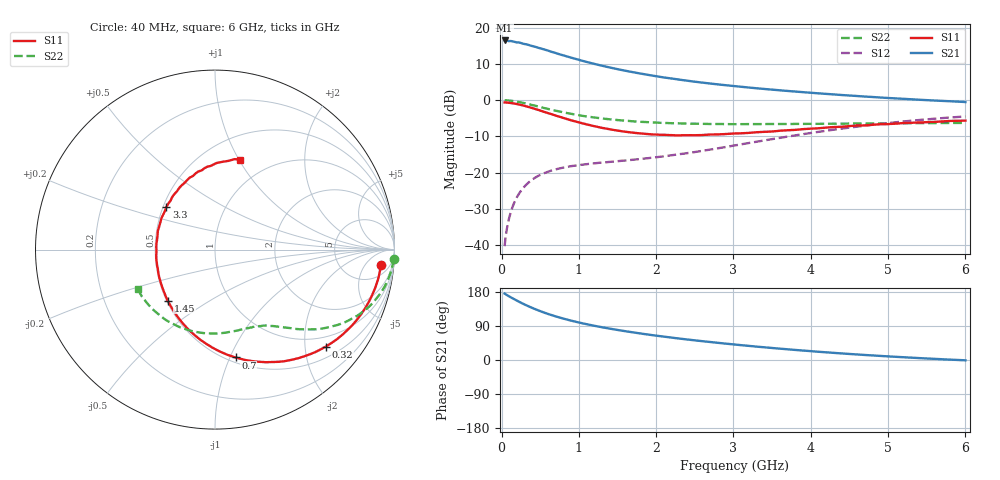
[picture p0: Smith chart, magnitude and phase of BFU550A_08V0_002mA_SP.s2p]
! Filename:  P:\Prog\Test\Noise\ATS_data\Testdata_Net\03 Spar\BFU550A_APG2013_35_C05_08p0V_002mA_SP_CM01_D.s2p
! Date/Time: Tue 16/Apr/2013 15:10:17
! BFU550A_APG2013_35_C05_08p0V_1to35mA_SP_CM01_Bias2_R.s2p
! MDIF S-parameter v. bias file
! BFU550A_APG2013_35_C05_08p0V_1to35mA_SP_CM01
! Date/time Mon Apr 15 16:50:27 2013
! VAR V_out= 8.0000
! VAR I_out= 1.9900
! VAR V_in= 0.7955
! VAR I_in= 0.0200
! Device data file deembeded for feedlines and parallel
! Original file: \03 Spar\BFU550A_APG2013_35_C05_08p0V_002mA_SP_CM01_R.s2p
! Feed-files: PR017V01_150413_Feed1.s2p, PR017V01_150413_Feed2.s2p
! Parallel-file: PR017V01_150413_Par.s2p
# MHz S MA R 50
!  Freq-MHz  S11-mag  S11-arg  S21-mag  S21-arg  S12-mag  S12-arg  S22-mag  S22-arg
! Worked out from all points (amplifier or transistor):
!   98 points, 40 MHz to 6 GHz, reference 50 ohm
!   highest |S21| = 16.5 dB at 40 MHz (marker M1)
!   |S21| within 3 dB of that: start of sweep to 628.6 MHz
!   unconditionally stable (mu >= 1): 2.045 GHz to 2.812 GHz
!   at 300 MHz: K = 0.21, MSG = 19.6 dB, |S12| = -23.8 dB
!   at 1.6 GHz: K = 0.89, MSG = 12.4 dB, |S12| = -16.7 dB
!   at 6 GHz: K = 0.86, MSG = 2.0 dB, |S12| = -4.5 dB
!   S11 on the Smith chart (normalised r, x): 40 MHz: 10, -13; 320 MHz: 0.75, -2.47; 700 MHz: 0.55, -1.05; 1.45 GHz: 0.51, -0.34; 3.3 GHz: 0.52, +0.28; 6 GHz: 0.73, +1.01
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40  0.9293 -5.5  6.659 175.3  0.009637 86.9  0.9961 -3.1
90  0.9199 -12.1  6.525 168.8  0.02156 82.3  0.9876 -7.1
120  0.9114 -16.2  6.543 165.4  0.02848 80.1  0.9803 -9.4
160  0.8981 -21.4  6.406 161.0  0.03744 76.9  0.9678 -12.3
240  0.8623 -31.5  6.187 152.4  0.05376 71.4  0.9339 -17.8
320  0.8208 -41.1  5.897 144.5  0.06801 66.4  0.8946 -22.7
420  0.7639 -52.3  5.503 135.5  0.08293 61.1  0.8435 -27.8
500  0.7179 -60.6  5.191 129.1  0.09278 57.5  0.8038 -31.4
600  0.6621 -70.4  4.829 121.7  0.1026 53.9  0.756 -35.2
700  0.6118 -79.2  4.47 115.1  0.1105 51.1  0.7148 -38.4
850  0.5463 -91.5  3.995 106.5  0.1199 48.2  0.6615 -42.2
1050  0.4772 -106.3  3.477 96.7  0.1286 46.1  0.6061 -46.2
1250  0.4252 -120.0  3.069 88.4  0.1359 45.3  0.5672 -49.5
1450  0.3874 -132.8  2.746 81.1  0.1419 45.9  0.5368 -52.5
1750  0.3505 -150.7  2.375 71.4  0.1522 48.0  0.5059 -56.9
2050  0.3324 -167.2  2.094 63.0  0.165 50.9  0.4864 -61.4
2500  0.3274 170.7  1.796 51.8  0.192 55.0  0.4729 -68.9
3100  0.3483 145.8  1.528 39.1  0.2453 58.1  0.4658 -80.4
3300  0.3602 138.8  1.457 35.3  0.2666 58.3  0.4666 -84.6
4100  0.4086 114.5  1.24 21.8  0.3646 54.4  0.4706 -103.2
5200  0.4823 89.0  1.042 7.3  0.5077 42.4  0.4783 -131.1
6000  0.5209 74.4  0.9407 -0.8  0.5941 31.6  0.4839 -152.9
